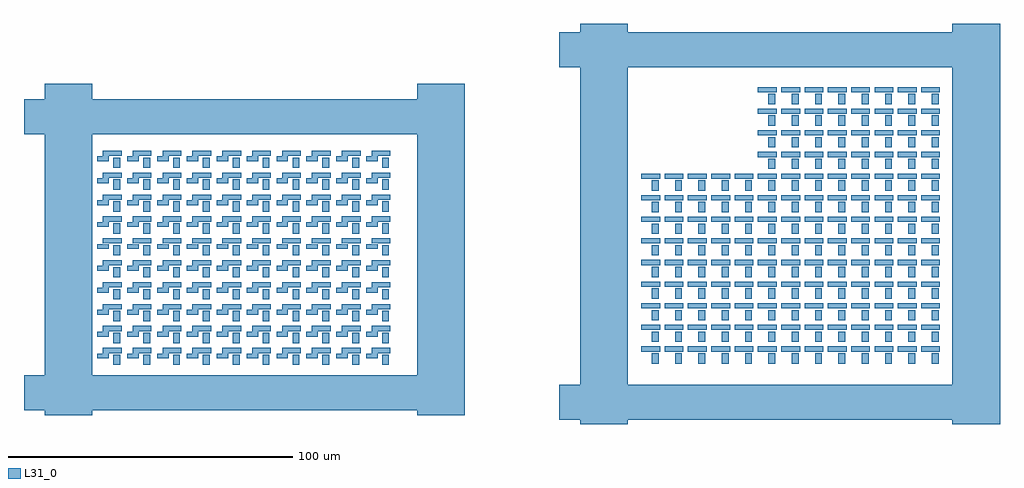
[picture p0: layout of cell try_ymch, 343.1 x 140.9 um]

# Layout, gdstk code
import gdstk
lib = gdstk.Library(unit=1e-6, precision=1e-09)
def R(c, l, rs):  # rectangles x0, y0, x1, y1
    for r in rs: c.add(gdstk.rectangle(r[:2], r[2:], *l))
def A(c, l, x, y, w, h, nx, ny, dx, dy):  # array of equal rectangles
    R(c, l, [(x+i*dx, y+j*dy, x+i*dx+w, y+j*dy+h) for i in range(nx) for j in range(ny)])
L31_0 = (31, 0)

try_ymch = lib.new_cell('try_ymch')
A(try_ymch, L31_0, 18.1, -1.7, 2.4, 3.6, 10, 10, 10.5, 7.7)
A(try_ymch, L31_0, 207.4, -1.2, 2.4, 3.6, 13, 9, 8.2, 7.6)
A(try_ymch, L31_0, 12.5, 0.6, 4, 1.7, 10, 10, 10.5, 7.7)
A(try_ymch, L31_0, 14.4, 2.5, 6.6, 1.8, 10, 10, 10.5, 7.7)
A(try_ymch, L31_0, 203.7, 3, 6.6, 1.8, 13, 9, 8.2, 7.6)
A(try_ymch, L31_0, 248.4, 67.2, 2.4, 3.6, 8, 4, 8.2, 7.6)
A(try_ymch, L31_0, 244.7, 71.4, 6.6, 1.8, 8, 4, 8.2, 7.6)
R(try_ymch, L31_0, [(182.2,-22.6,198.9,118.3), (313.1,-22.6,329.8,118.3), (174.9,-20.9,329.6,-8.6), (-6,-19.3,10.7,97.2), (124.9,-19.3,141.6,97.2), (-13.3,-17.6,141.4,-5.3), (-13.3,79.4,141.4,91.7), (174.9,103,329.6,115.3)])

lib.write_gds('try_ymch.gds')
